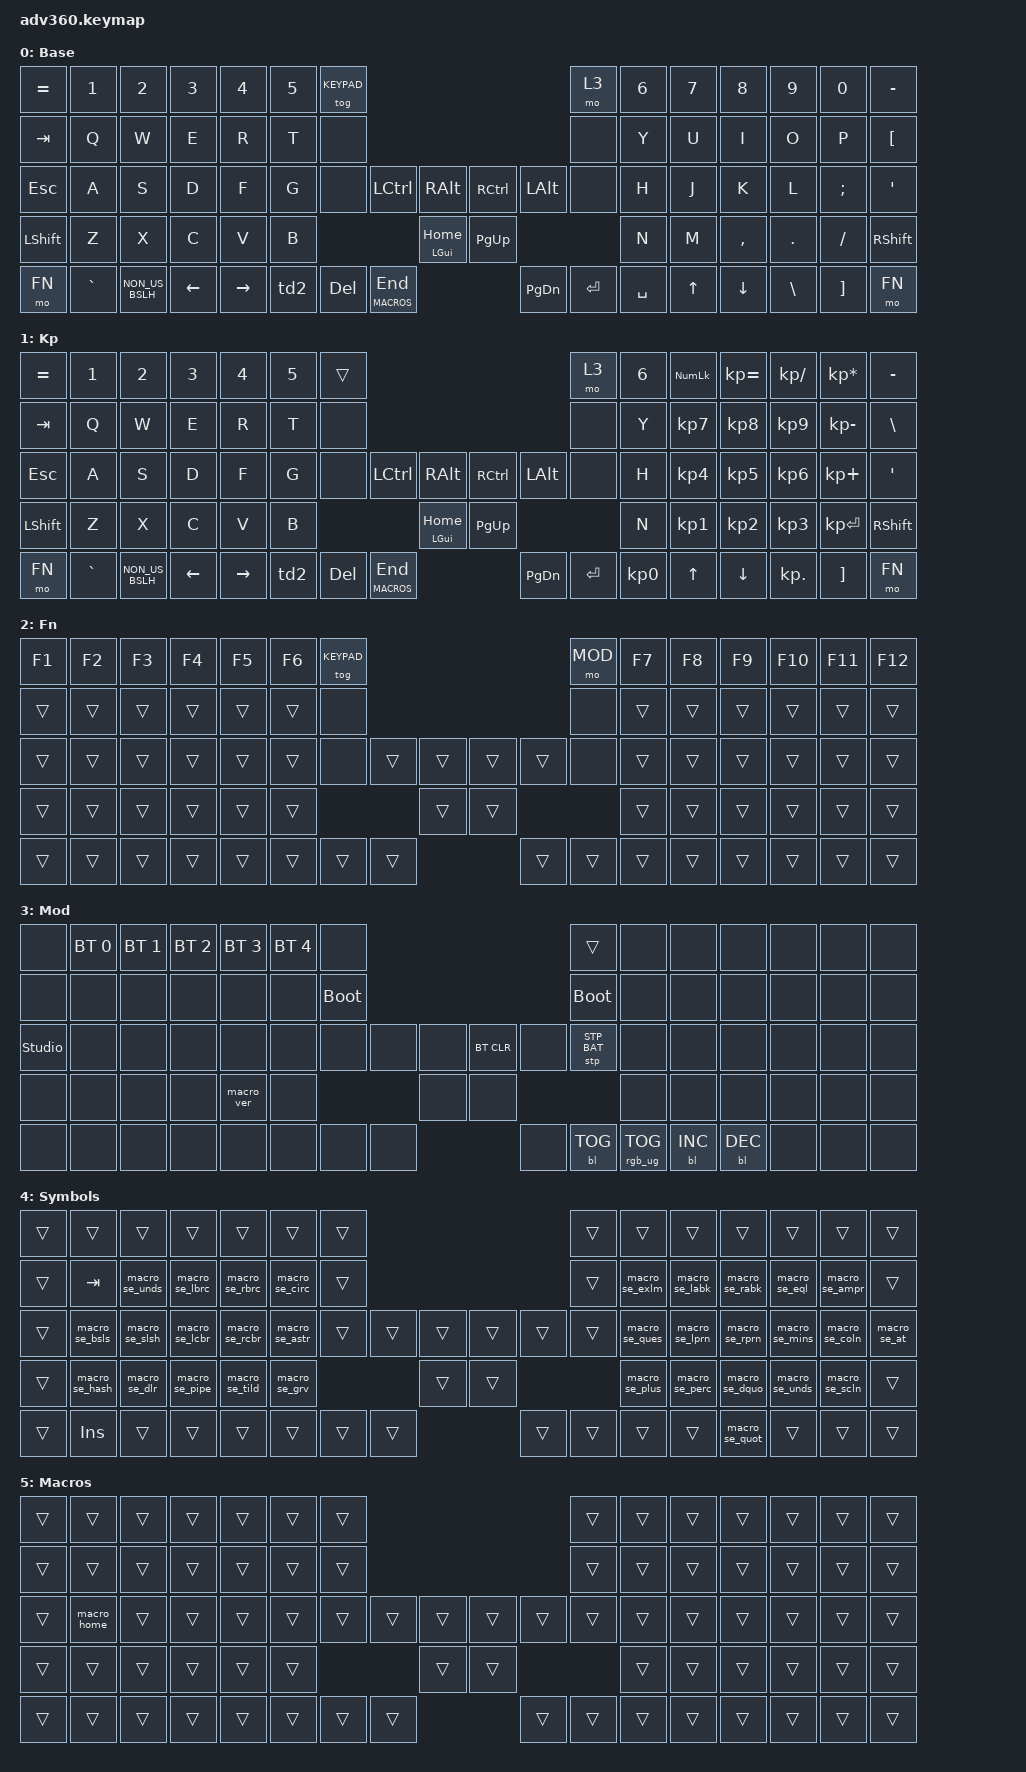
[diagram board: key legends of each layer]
#include <behaviors.dtsi>
#include <dt-bindings/zmk/keys.h>
#include <dt-bindings/zmk/bt.h>
#include <dt-bindings/zmk/rgb.h>
#include <dt-bindings/zmk/stp.h>
#include <dt-bindings/zmk/backlight.h>
#include <dt-bindings/zmk/pointing.h>
#define DEFAULT 0
#define KEYPAD 1
#define FN 2
#define MOD 3
#define SYMBOLS 4
#define MACROS 5

/ {
    behaviors {
      #include "macros.dtsi"
      #include "version.dtsi"

    hm: homerow_mods {
        compatible = "zmk,behavior-hold-tap";
        label = "HOMEROW_MODS";
        #binding-cells = <2>;
        tapping-term-ms = <200>;
        quick_tap_ms = <175>;
        flavor = "tap-preferred";
        bindings = <&kp>, <&kp>;
    };
    bspace: backspace_hold_tap {
        compatible = "zmk,behavior-hold-tap";
        label = "BACKSPACE_HOLD_TAP";
        #binding-cells = <2>;
        tapping-term-ms = <200>;
        quick-tap-ms = <125>;
        bindings = <&mo>, <&kp>;
    };
    td2: tap_dance_2 {
        compatible = "zmk,behavior-tap-dance";
        label = "TAP_DANCE";
        #binding-cells = <0>;
        tapping-term-ms = <200>;
        bindings = <&kp BACKSPACE>, <&lt SYMBOLS BACKSPACE>;
    };

  };

  keymap {
    compatible = "zmk,keymap";
    default_layer {
      display-name = "Base";
      bindings = <
        &kp EQUAL &kp N1    &kp N2          &kp N3   &kp N4     &kp N5 &tog KEYPAD                                                                 &mo 3 &kp N6 &kp N7 &kp N8    &kp N9        &kp N0   &kp MINUS
        &kp TAB   &kp Q     &kp W           &kp E    &kp R      &kp T  &none                                                                       &none &kp Y  &kp U  &kp I     &kp O         &kp P    &kp LBKT
        &kp ESC   &kp A     &kp S           &kp D    &kp F      &kp G  &none            &kp LCTRL &kp RALT           &kp RCTRL &kp LALT            &none &kp H  &kp J  &kp K     &kp L         &kp SEMI &kp SQT
        &kp LSHFT &kp Z     &kp X           &kp C    &kp V      &kp B                             &mt LGUI HOME      &kp PG_UP                           &kp N  &kp M  &kp COMMA &kp DOT       &kp FSLH &kp RSHFT
        &mo FN    &kp GRAVE &kp NON_US_BSLH &kp LEFT &kp RIGHT                     &td2 &kp DEL   &lt MACROS END     &kp PG_DN &kp ENTER &kp SPACE              &kp UP &kp DOWN  &kp BACKSLASH &kp RBKT &mo FN
      >;
    };

    keypad {
      display-name = "Kp";
      bindings = <
        &kp EQUAL &kp N1    &kp N2          &kp N3   &kp N4    &kp N5 &trans                                                                  &mo 3  &kp N6 &kp KP_NUM &kp KP_EQUAL &kp KP_DIVIDE &kp KP_MULTIPLY &kp MINUS
        &kp TAB   &kp Q     &kp W           &kp E    &kp R     &kp T  &none                                                                   &none  &kp Y  &kp KP_N7  &kp KP_N8    &kp KP_N9     &kp KP_MINUS    &kp BSLH
        &kp ESC   &kp A     &kp S           &kp D    &kp F     &kp G  &none        &kp LCTRL &kp RALT           &kp RCTRL &kp LALT            &none  &kp H  &kp KP_N4  &kp KP_N5    &kp KP_N6     &kp KP_PLUS     &kp SQT
        &kp LSHFT &kp Z     &kp X           &kp C    &kp V     &kp B                         &mt LGUI HOME      &kp PG_UP                            &kp N  &kp KP_N1  &kp KP_N2    &kp KP_N3     &kp KP_ENTER    &kp RSHFT
        &mo FN    &kp GRAVE &kp NON_US_BSLH &kp LEFT &kp RIGHT                &td2 &kp DEL   &lt MACROS END     &kp PG_DN &kp ENTER &kp KP_N0               &kp UP     &kp DOWN     &kp KP_DOT    &kp RBKT        &mo FN
      >;
    };

    fn {
      display-name = "Fn";
      bindings = <
        &kp F1 &kp F2 &kp F3 &kp F4 &kp F5 &kp F6 &tog KEYPAD                                           &mo MOD &kp F7 &kp F8 &kp F9 &kp F10 &kp F11 &kp F12
        &trans &trans &trans &trans &trans &trans &none                                                 &none   &trans &trans &trans &trans  &trans  &trans
        &trans &trans &trans &trans &trans &trans &none              &trans &trans &trans &trans        &none   &trans &trans &trans &trans  &trans  &trans
        &trans &trans &trans &trans &trans &trans                           &trans &trans                       &trans &trans &trans &trans  &trans  &trans
        &trans &trans &trans &trans &trans                    &trans &trans &trans &trans &trans &trans                &trans &trans &trans  &trans  &trans
      >;
    };

    mod {
      display-name = "Mod";
      bindings = <
        &none &bt BT_SEL 0 &bt BT_SEL 1 &bt BT_SEL 2 &bt BT_SEL 3 &bt BT_SEL 4 &none                                                                     &trans                 &none        &none        &none        &none &none &none
        &none &none        &none        &none        &none        &none        &bootloader                                                                                   &bootloader            &none        &none        &none        &none        &none        &none
        &studio_unlock     &none        &none        &none        &none        &none        &none                   &none &none &bt BT_CLR &none                      &stp STP_BAT &none        &none        &none        &none &none &none
        &none &none        &none        &none        &macro_ver   &none                                      &none &none                                                        &none        &none        &none        &none &none &none
        &none &none        &none        &none        &none                                       &none &none &none &none      &bl BL_TOG &rgb_ug RGB_TOG                                     &bl BL_INC   &bl BL_DEC   &none &none &none
      >;
    };
    symbols {
      display-name = "Symbols";
      bindings = <
        &trans &trans         &trans         &trans         &trans         &trans         &trans                                             &trans &trans         &trans         &trans         &trans         &trans         &trans
        &trans &kp TAB        &macro_se_unds &macro_se_lbrc &macro_se_rbrc &macro_se_circ &trans                                             &trans &macro_se_exlm &macro_se_labk &macro_se_rabk &macro_se_eql  &macro_se_ampr &trans
        &trans &macro_se_bsls &macro_se_slsh &macro_se_lcbr &macro_se_rcbr &macro_se_astr &trans        &trans &trans &trans  &trans         &trans &macro_se_ques &macro_se_lprn &macro_se_rprn &macro_se_mins &macro_se_coln &macro_se_at
        &trans &macro_se_hash &macro_se_dlr  &macro_se_pipe &macro_se_tild &macro_se_grv                       &trans &trans                        &macro_se_plus &macro_se_perc &macro_se_dquo &macro_se_unds &macro_se_scln &trans
        &trans &kp INS        &trans         &trans         &trans                               &trans &trans &trans &trans  &trans  &trans                       &trans         &macro_se_quot &trans         &trans         &trans
      >;
    };
    macro {
      display-name = "Macros";
      bindings = <
        &trans &trans      &trans &trans &trans &trans &trans                                             &trans &trans &trans &trans &trans &trans &trans
        &trans &trans      &trans &trans &trans &trans &trans                                             &trans &trans &trans &trans &trans &trans &trans
        &trans &macro_home &trans &trans &trans &trans &trans        &trans &trans &trans  &trans         &trans &trans &trans &trans &trans &trans &trans
        &trans &trans      &trans &trans &trans &trans                      &trans &trans                        &trans &trans &trans &trans &trans &trans
        &trans &trans      &trans &trans &trans               &trans &trans &trans &trans  &trans  &trans               &trans &trans &trans &trans &trans
      >;
    };
    extra1 {
      display-name = "Red";
      status = "reserved";
    };

    extra2 {
      display-name = "Purple";
      status = "reserved";
    };

    extra3 {
      display-name = "Cyan";
      status = "reserved";
    };

    extra4 {
      display-name = "Yellow";
      status = "reserved";
    };
  };
};
